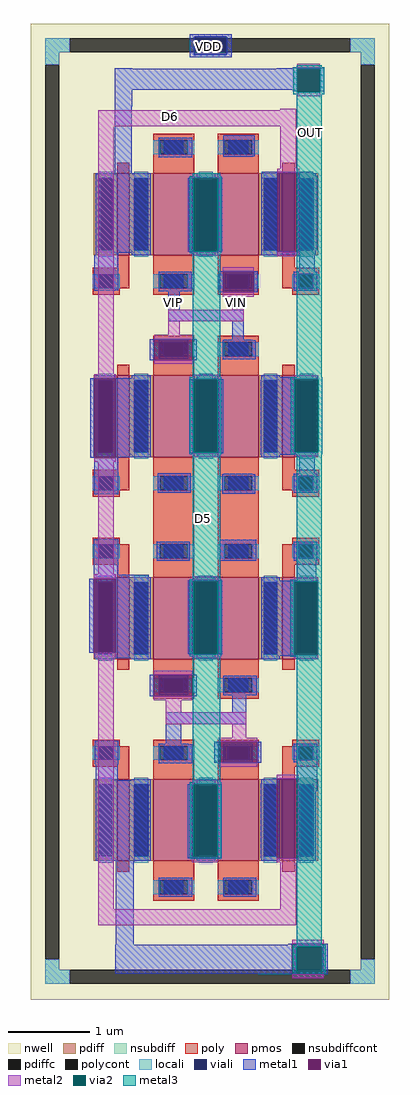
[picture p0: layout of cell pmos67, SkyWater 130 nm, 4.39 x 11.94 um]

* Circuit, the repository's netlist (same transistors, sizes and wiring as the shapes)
** sch_path: /home/muqtada/opamp/mag/pmos67/pmos67.sch
.subckt pmos67 VDD D5 VIN VIP OUT D6
*.PININFO VDD:B D5:B VIN:I VIP:I OUT:B D6:B
XM6 D6 VIN D5 VDD sky130_fd_pr__pfet_01v8 L=0.5 W=1 nf=1 m=4
XM7 OUT VIP D5 VDD sky130_fd_pr__pfet_01v8 L=0.5 W=1 nf=1 m=4
XM1 D6 D6 D6 VDD sky130_fd_pr__pfet_01v8 L=0.15 W=1 nf=1 m=4
XM2 OUT OUT OUT VDD sky130_fd_pr__pfet_01v8 L=0.15 W=1 nf=1 m=4
.ends
.end

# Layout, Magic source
magic
tech sky130A
magscale 1 2
<< nwell >>
rect -206 -342 672 2046
<< nsubdiff >>
rect -170 1976 -110 2010
rect 576 1976 636 2010
rect -170 1945 -136 1976
rect 602 1945 636 1976
rect -170 -269 -136 -243
rect 602 -269 636 -243
rect -170 -303 -110 -269
rect 576 -303 636 -269
<< nsubdiffcont >>
rect -110 1976 576 2010
rect -170 -243 -136 1945
rect 602 -243 636 1945
rect -110 -303 576 -269
<< poly >>
rect 6 1448 36 1479
rect -54 1432 36 1448
rect -54 1398 -38 1432
rect -4 1398 36 1432
rect 410 1448 440 1489
rect 410 1432 500 1448
rect 410 1398 450 1432
rect 484 1398 500 1432
rect -54 1382 12 1398
rect 434 1382 500 1398
rect 6 954 36 984
rect -54 938 36 954
rect -54 904 -38 938
rect -4 904 36 938
rect 410 954 440 985
rect 410 938 500 954
rect 410 904 450 938
rect 484 904 500 938
rect -54 888 12 904
rect 434 888 500 904
rect 94 788 194 888
rect 252 788 352 888
rect -54 772 12 788
rect 434 772 500 788
rect -54 738 -38 772
rect -4 738 36 772
rect -54 722 36 738
rect 6 691 36 722
rect 410 738 450 772
rect 484 738 500 772
rect 410 722 500 738
rect 410 692 440 722
rect -54 278 12 294
rect 434 278 500 294
rect -54 244 -38 278
rect -4 244 36 278
rect -54 228 36 244
rect 6 197 36 228
rect 410 244 450 278
rect 484 244 500 278
rect 410 228 500 244
rect 410 198 440 228
<< polycont >>
rect -38 1398 -4 1432
rect 450 1398 484 1432
rect -38 904 -4 938
rect 450 904 484 938
rect -38 738 -4 772
rect 450 738 484 772
rect -38 244 -4 278
rect 450 244 484 278
<< locali >>
rect -170 1976 -110 2010
rect 576 1976 636 2010
rect -170 1945 -136 1976
rect 602 1945 636 1976
rect -40 1475 -6 1479
rect -54 1398 -38 1432
rect -4 1398 12 1432
rect 434 1398 450 1432
rect 484 1398 500 1432
rect -40 981 -6 984
rect 452 981 486 985
rect -54 904 -38 938
rect -4 904 12 938
rect 434 904 450 938
rect 484 904 500 938
rect -54 738 -38 772
rect -4 738 12 772
rect 434 738 450 772
rect 484 738 500 772
rect -40 691 -6 695
rect 452 692 486 695
rect -54 244 -38 278
rect -4 244 12 278
rect 434 244 450 278
rect 484 244 500 278
rect -40 197 -6 201
rect 452 198 486 201
rect -170 -269 -136 -243
rect 602 -269 636 -243
rect -170 -303 -110 -269
rect 576 -303 636 -269
<< viali >>
rect 195 2010 274 2014
rect 195 1976 274 2010
rect 195 1969 274 1976
rect -38 1398 -4 1432
rect 450 1398 484 1432
rect -38 904 -4 938
rect 450 904 484 938
rect -38 738 -4 772
rect 450 738 484 772
rect -38 244 -4 278
rect 450 244 484 278
<< metal1 >>
rect 183 2014 286 2020
rect 183 1969 195 2014
rect 274 1969 286 2014
rect 183 1963 286 1969
rect 436 1936 446 1938
rect 0 1935 43 1936
rect 396 1935 446 1936
rect 0 1884 446 1935
rect 0 1844 43 1884
rect 436 1880 446 1884
rect 502 1880 512 1938
rect -41 1485 -34 1668
rect 0 1485 42 1844
rect 108 1719 189 1766
rect 266 1721 342 1773
rect 360 1681 485 1683
rect 43 1485 83 1668
rect 180 1488 190 1669
rect 253 1488 263 1669
rect 360 1487 398 1681
rect 451 1674 485 1681
rect 451 1491 496 1674
rect 451 1487 489 1491
rect -34 1479 9 1485
rect 360 1482 489 1487
rect -50 1432 9 1479
rect -50 1398 -38 1432
rect -4 1398 9 1432
rect -50 1393 9 1398
rect -50 1392 0 1393
rect 107 1391 188 1438
rect 131 1346 159 1391
rect 254 1388 264 1440
rect 340 1388 350 1440
rect 451 1438 489 1482
rect 438 1432 496 1438
rect 438 1398 450 1432
rect 484 1398 496 1432
rect 438 1392 496 1398
rect 131 1318 316 1346
rect 86 1222 96 1274
rect 191 1222 201 1274
rect 288 1271 316 1318
rect 264 1224 345 1271
rect -42 1179 0 1181
rect -51 1178 0 1179
rect 43 1179 86 1181
rect 43 1178 87 1179
rect -60 984 -50 1178
rect 3 985 87 1178
rect 182 995 192 1176
rect 255 995 265 1176
rect 362 1174 496 1181
rect 357 998 440 1174
rect 492 998 496 1174
rect 357 991 491 998
rect 3 984 13 985
rect -50 938 8 984
rect -50 904 -38 938
rect -4 904 8 938
rect -50 894 8 904
rect 105 898 186 945
rect 451 944 489 985
rect 263 896 344 943
rect 438 938 496 944
rect 438 904 450 938
rect 484 904 496 938
rect 438 898 496 904
rect -52 772 8 784
rect -52 738 -38 772
rect -4 738 8 772
rect -52 697 8 738
rect 103 731 184 778
rect 257 732 346 783
rect 438 772 496 778
rect 438 738 450 772
rect 484 738 496 772
rect 438 732 496 738
rect -52 688 83 697
rect -62 506 -52 688
rect 2 506 83 688
rect -49 493 83 506
rect 180 503 190 684
rect 253 503 263 684
rect 446 682 493 732
rect 360 680 494 682
rect 360 504 440 680
rect 492 504 494 680
rect 360 499 494 504
rect 85 400 95 452
rect 190 400 200 452
rect 266 403 347 450
rect 287 361 322 403
rect 125 331 322 361
rect -49 278 8 291
rect 125 283 163 331
rect -49 244 -38 278
rect -4 244 8 278
rect -49 234 8 244
rect 108 236 189 283
rect 244 237 254 289
rect 349 237 359 289
rect 438 278 496 284
rect 438 244 450 278
rect 484 244 496 278
rect 438 238 496 244
rect -47 194 7 234
rect 446 198 496 238
rect -47 187 46 194
rect 386 187 396 198
rect -47 6 80 187
rect -47 -3 46 6
rect 179 4 189 185
rect 252 4 262 185
rect 357 4 396 187
rect 449 168 496 198
rect 449 4 491 168
rect 2 -208 46 -3
rect 108 -91 189 -44
rect 265 -91 346 -44
rect 424 -208 434 -206
rect 1 -279 434 -208
rect 351 -280 434 -279
rect 511 -280 521 -206
<< via1 >>
rect 446 1880 502 1938
rect 190 1488 253 1669
rect 398 1487 451 1681
rect 264 1388 340 1440
rect 96 1222 191 1274
rect -50 984 3 1178
rect 192 995 255 1176
rect 440 998 492 1174
rect -52 506 2 688
rect 190 503 253 684
rect 440 504 492 680
rect 95 400 190 452
rect 254 237 349 289
rect 189 4 252 185
rect 396 4 449 198
rect 434 -280 511 -206
<< metal2 >>
rect 446 1944 502 1948
rect 446 1938 503 1944
rect 502 1934 503 1938
rect 446 1878 447 1880
rect 446 1870 503 1878
rect 447 1868 503 1870
rect 405 1834 444 1837
rect -41 1795 444 1834
rect -41 1188 -2 1795
rect 405 1691 444 1795
rect 398 1681 451 1691
rect 190 1669 253 1679
rect 190 1478 253 1488
rect 398 1477 451 1487
rect 264 1440 340 1450
rect 264 1378 340 1388
rect 288 1346 316 1378
rect 131 1318 316 1346
rect 131 1284 159 1318
rect 96 1274 191 1284
rect 96 1214 191 1222
rect -50 1178 3 1188
rect 192 1176 255 1186
rect 192 985 255 995
rect 440 1175 498 1185
rect 440 987 498 997
rect -50 974 3 984
rect -41 698 -2 974
rect -52 688 2 698
rect -52 496 2 506
rect 190 684 253 694
rect -41 -121 -2 496
rect 190 493 253 503
rect 439 680 497 690
rect 439 492 497 502
rect 95 452 190 462
rect 95 390 190 400
rect 125 361 163 390
rect 125 331 322 361
rect 287 299 322 331
rect 254 289 349 299
rect 254 227 349 237
rect 396 198 449 208
rect 189 185 252 195
rect 189 -6 252 4
rect 396 -6 449 4
rect 405 -121 444 -6
rect -41 -160 444 -121
rect 434 -206 511 -196
rect 434 -290 511 -280
<< via2 >>
rect 447 1880 502 1934
rect 502 1880 503 1934
rect 447 1878 503 1880
rect 193 1489 251 1667
rect 193 997 251 1175
rect 440 1174 498 1175
rect 440 998 492 1174
rect 492 998 498 1174
rect 440 997 498 998
rect 193 503 251 681
rect 439 504 440 680
rect 440 504 492 680
rect 492 504 497 680
rect 439 502 497 504
rect 193 7 251 185
rect 445 -274 506 -213
<< metal3 >>
rect 446 1943 506 1944
rect 445 1939 506 1943
rect 437 1934 513 1939
rect 437 1878 447 1934
rect 503 1878 513 1934
rect 437 1873 513 1878
rect 191 1672 258 1679
rect 183 1667 261 1672
rect 183 1489 193 1667
rect 251 1489 261 1667
rect 183 1484 261 1489
rect 191 1180 258 1484
rect 445 1180 506 1873
rect 183 1175 261 1180
rect 183 997 193 1175
rect 251 997 261 1175
rect 183 992 261 997
rect 430 1175 508 1180
rect 430 997 440 1175
rect 498 997 508 1175
rect 430 992 508 997
rect 191 686 258 992
rect 183 681 261 686
rect 445 685 506 992
rect 183 503 193 681
rect 251 503 261 681
rect 183 498 261 503
rect 429 680 507 685
rect 429 502 439 680
rect 497 502 507 680
rect 191 190 258 498
rect 429 497 507 502
rect 183 185 261 190
rect 183 7 193 185
rect 251 7 261 185
rect 183 2 261 7
rect 445 -208 506 497
rect 435 -213 516 -208
rect 435 -274 445 -213
rect 506 -274 516 -213
rect 435 -279 516 -274
use sky130_fd_pr__pfet_01v8_2XUZHN  sky130_fd_pr__pfet_01v8_2XUZHN_0
transform 1 0 21 0 1 97
box -109 -162 109 162
use sky130_fd_pr__pfet_01v8_2XUZHN  sky130_fd_pr__pfet_01v8_2XUZHN_1
transform 1 0 425 0 1 1579
box -109 -162 109 162
use sky130_fd_pr__pfet_01v8_2XUZHN  sky130_fd_pr__pfet_01v8_2XUZHN_2
transform 1 0 425 0 1 1085
box -109 -162 109 162
use sky130_fd_pr__pfet_01v8_2XUZHN  sky130_fd_pr__pfet_01v8_2XUZHN_3
transform 1 0 425 0 1 591
box -109 -162 109 162
use sky130_fd_pr__pfet_01v8_2XUZHN  sky130_fd_pr__pfet_01v8_2XUZHN_4
transform 1 0 425 0 1 97
box -109 -162 109 162
use sky130_fd_pr__pfet_01v8_2XUZHN  sky130_fd_pr__pfet_01v8_2XUZHN_5
transform 1 0 21 0 1 1579
box -109 -162 109 162
use sky130_fd_pr__pfet_01v8_2XUZHN  sky130_fd_pr__pfet_01v8_2XUZHN_6
transform 1 0 21 0 1 1085
box -109 -162 109 162
use sky130_fd_pr__pfet_01v8_2XUZHN  sky130_fd_pr__pfet_01v8_2XUZHN_7
transform 1 0 21 0 1 591
box -109 -162 109 162
use sky130_fd_pr__pfet_01v8_VQXX5L  sky130_fd_pr__pfet_01v8_VQXX5L_0
transform 1 0 223 0 1 591
box -223 -200 223 200
use sky130_fd_pr__pfet_01v8_VQXX5L  sky130_fd_pr__pfet_01v8_VQXX5L_1
transform 1 0 223 0 1 97
box -223 -200 223 200
use sky130_fd_pr__pfet_01v8_VQXX5L  sky130_fd_pr__pfet_01v8_VQXX5L_2
transform 1 0 223 0 1 1085
box -223 -200 223 200
use sky130_fd_pr__pfet_01v8_VQXX5L  sky130_fd_pr__pfet_01v8_VQXX5L_3
transform 1 0 223 0 1 1579
box -223 -200 223 200
<< labels >>
flabel metal3 217 836 217 836 0 FreeSans 480 0 0 0 D5
port 0 nsew
flabel metal1 144 1364 144 1364 0 FreeSans 480 0 0 0 VIP
port 1 nsew
flabel metal2 299 1364 299 1364 0 FreeSans 480 0 0 0 VIN
port 2 nsew
flabel metal2 136 1819 136 1819 0 FreeSans 480 0 0 0 D6
port 3 nsew
flabel metal3 480 1780 480 1780 0 FreeSans 480 0 0 0 OUT
port 4 nsew
flabel viali 229 1989 229 1989 0 FreeSans 480 0 0 0 VDD
port 5 nsew
<< end >>

# cell sky130_fd_pr__pfet_01v8_2XUZHN: kit device sky130_fd_pr__pfet_01v8, w 1 l 0.15 m 1 nf 1 diffcov 100 polycov 100 guard 0 glc 1 grc 1 gtc 1 gbc 1 tbcov 100 rlcov 100 topc 0 botc 0 poverlap 0 doverlap 1 lmin 0.15 wmin 0.42 compatible {sky130_fd_pr__pfet_01v8 sky130_fd_pr__pfet_01v8_lvt sky130_fd_pr__pfet_01v8_hvt sky130_fd_pr__pfet_g5v0d10v5} full_metal 1 viasrc 100 viadrn 100 viagate 100 viagb 0 viagr 0 viagl 0 viagt 0

# cell sky130_fd_pr__pfet_01v8_VQXX5L: kit device sky130_fd_pr__pfet_01v8, w 1 l 0.5 m 1 nf 2 diffcov 100 polycov 100 guard 0 glc 1 grc 1 gtc 1 gbc 1 tbcov 100 rlcov 100 topc 1 botc 1 poverlap 0 doverlap 1 lmin 0.15 wmin 0.42 compatible {sky130_fd_pr__pfet_01v8 sky130_fd_pr__pfet_01v8_lvt sky130_fd_pr__pfet_01v8_hvt sky130_fd_pr__pfet_g5v0d10v5} full_metal 1 viasrc 100 viadrn 100 viagate 70 viagb 0 viagr 0 viagl 0 viagt 0
